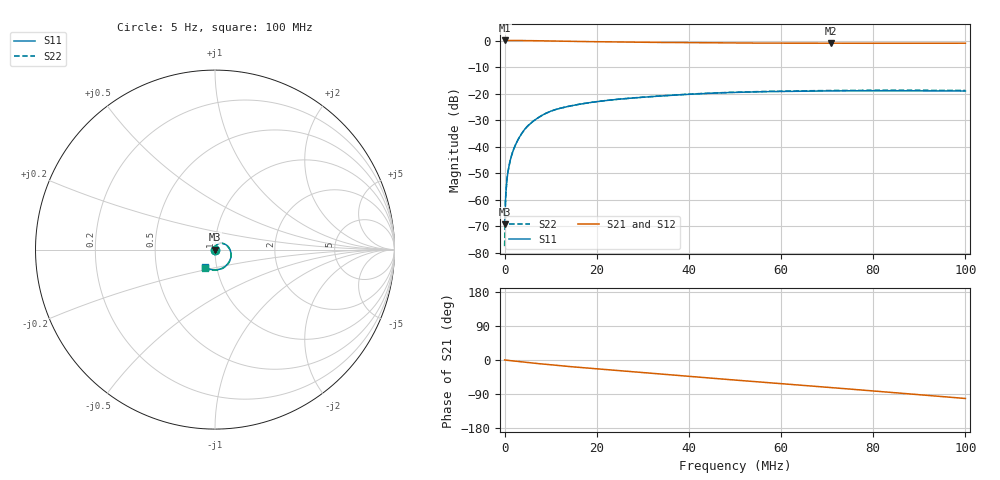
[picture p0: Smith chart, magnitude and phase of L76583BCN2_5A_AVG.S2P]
!Agilent Technologies,E5061B,MY49102235,A.02.00
!Date: Mon Jul 10 16:59:55 2023
!Data & Calibration Information:
!Freq	S11:SOLT2(ON)	S21:SOLT2(ON)	S12:SOLT2(ON)	S22:SOLT2(ON)
# Hz S RI R 50
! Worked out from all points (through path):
!   1600 points, 5 Hz to 100 MHz, reference 50 ohm
!   highest |S21| = 0.02 dB at 5 Hz (marker M1); lowest = -1.0 dB at 70.73 MHz (marker M2)
!   group delay of S21, straight-line fit = 2.74 ns
!   lowest |S11| = -69.3 dB at 62.54 kHz (marker M3), VSWR 1.00, Z = 50 + j0.034 ohm
!   |S11| at or under -10 dB: start of sweep to end of sweep
!   |S22| runs from -77.5 to -18.7 dB; largest |S21 - S12| = 0.0027
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5  -0.000485 0.000427  1.002 0.00228  1.001 -3.26e-05  -0.00011 -7.57e-05
62544.08  -5.33e-05 0.00034  1 -0.00132  1 -0.000995  3.11e-05 0.000252
375239.5  0.000149 0.00179  1 -0.0084  0.9999 -0.00834  0.000103 0.00175
625395.8  0.000271 0.00294  0.9997 -0.0143  0.999 -0.014  0.000275 0.00297
750474  0.000145 0.00343  0.9997 -0.0171  0.9994 -0.0162  0.000138 0.00344
1000630  0.00023 0.00462  0.9995 -0.0222  0.9994 -0.0222  0.000252 0.00454
1500943  0.000522 0.00677  0.9994 -0.0342  0.9987 -0.0339  0.000519 0.00679
2063795  0.00085 0.00945  0.9984 -0.0465  0.9986 -0.0465  0.000911 0.00935
2876803  0.00177 0.0133  0.9972 -0.0657  0.9965 -0.0651  0.00177 0.0132
3752350  0.00326 0.0176  0.9946 -0.0855  0.9944 -0.0851  0.00329 0.0176
4690436  0.00607 0.0222  0.9906 -0.107  0.9904 -0.1065  0.00599 0.0222
5628523  0.00943 0.0258  0.9857 -0.1274  0.9856 -0.1271  0.00938 0.0258
8880555  0.0239 0.0346  0.9636 -0.1947  0.9635 -0.1943  0.024 0.0347
1.188243e7  0.0386 0.0354  0.9391 -0.2489  0.9389 -0.2486  0.0387 0.0355
1.669794e7  0.0567 0.0296  0.8989 -0.3271  0.8989 -0.3269  0.0569 0.0294
2.332708e7  0.0748 0.0144  0.8386 -0.4243  0.8385 -0.4241  0.075 0.014
3.333334e7  0.0879 -0.0163  0.7364 -0.552  0.7366 -0.5517  0.0883 -0.0172
5.003127e7  0.0771 -0.0717  0.5405 -0.716  0.5408 -0.716  0.0771 -0.073
6.672921e7  0.0336 -0.1064  0.3204 -0.8281  0.3203 -0.8279  0.0335 -0.1082
7.073171e7  0.0217 -0.1103  0.264 -0.8469  0.264 -0.8471  0.0216 -0.1122
8.33646e7  -0.0144 -0.1124  0.0769 -0.8842  0.0772 -0.8842  -0.0151 -0.1146
1e8  -0.0554 -0.0971  -0.1781 -0.871  -0.1784 -0.871  -0.057 -0.0999
